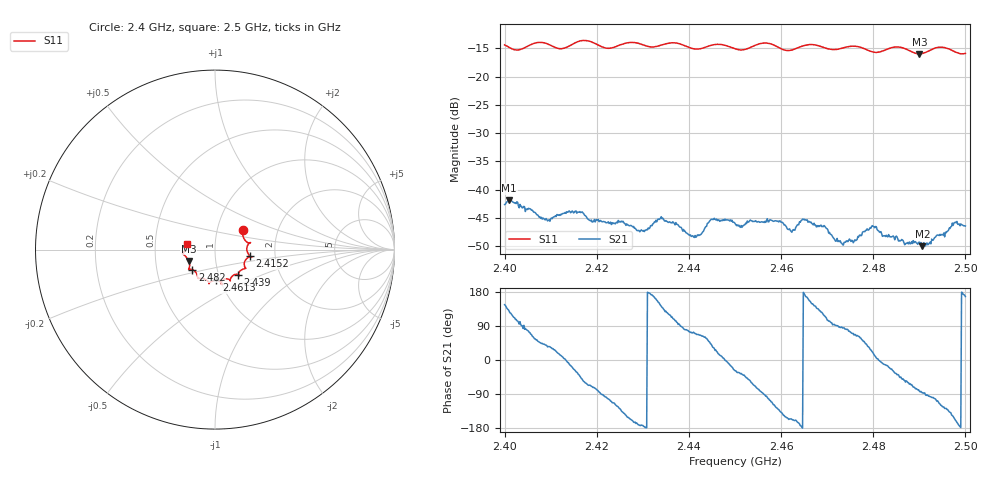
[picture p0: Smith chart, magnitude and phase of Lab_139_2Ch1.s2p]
# Hz S RI R 50
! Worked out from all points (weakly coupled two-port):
!   601 points, 2.4 GHz to 2.5 GHz, reference 50 ohm
!   highest |S21| = -41.90 dB at 2.401 GHz (marker M1); lowest = -50.0 dB at 2.4907 GHz (marker M2)
!   lowest |S11| = -16.0 dB at 2.49 GHz (marker M3), VSWR 1.38, Z = 37 - j4.81 ohm
!   |S11| at or under -10 dB: start of sweep to end of sweep
!   S12 and S22 are empty: the file has one direction only
!   S11 on the Smith chart (normalised r, x): 2.4 GHz: 1.33, +0.31; 2.4152 GHz: 1.48, -0.11; 2.439 GHz: 1.24, -0.36; 2.4613 GHz: 0.96, -0.34; 2.482 GHz: 0.76, -0.17; 2.5 GHz: 0.73, +0.05
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2.4e9  0.1562 0.1111  -0.00609 0.00413  0 0  0 0
2.401e9  0.1549 0.0952  -0.00499 0.0063  0 0  0 0
2.409333e9  0.1917 0.0369  0.00434 0.00298  0 0  0 0
2.415167e9  0.195 -0.0364  0.00575 -0.00278  0 0  0 0
2.416667e9  0.2043 -0.0424  0.00413 -0.00473  0 0  0 0
2.429167e9  0.1663 -0.1055  -0.00428 -0.00066  0 0  0 0
2.433333e9  0.1324 -0.1323  -0.00486 0.00253  0 0  0 0
2.439e9  0.1281 -0.1389  0.00067 0.00422  0 0  0 0
2.442e9  0.0985 -0.1457  0.00153 0.00366  0 0  0 0
2.445167e9  0.0843 -0.1718  0.00451 0.00299  0 0  0 0
2.45e9  0.0685 -0.1633  0.00442 -0.00236  0 0  0 0
2.456667e9  0.0393 -0.1952  -0.0005 -0.00509  0 0  0 0
2.461333e9  0.00713 -0.1706  -0.00398 -0.00207  0 0  0 0
2.466667e9  -0.0334 -0.1899  -0.00426 0.00264  0 0  0 0
2.4735e9  -0.0825 -0.1603  0.000294 0.0032  0 0  0 0
2.479667e9  -0.1047 -0.1299  0.00433 0.0019  0 0  0 0
2.482e9  -0.1262 -0.1116  0.0038 -0.000565  0 0  0 0
2.483333e9  -0.1392 -0.1097  0.00377 -0.00128  0 0  0 0
2.49e9  -0.1462 -0.0634  0.000477 -0.00338  0 0  0 0
2.490667e9  -0.1515 -0.053  0.000171 -0.00314  0 0  0 0
2.497667e9  -0.1666 -0.0049  -0.00463 -0.0021  0 0  0 0
2.5e9  -0.1576 0.033  -0.00463 0.00103  0 0  0 0
